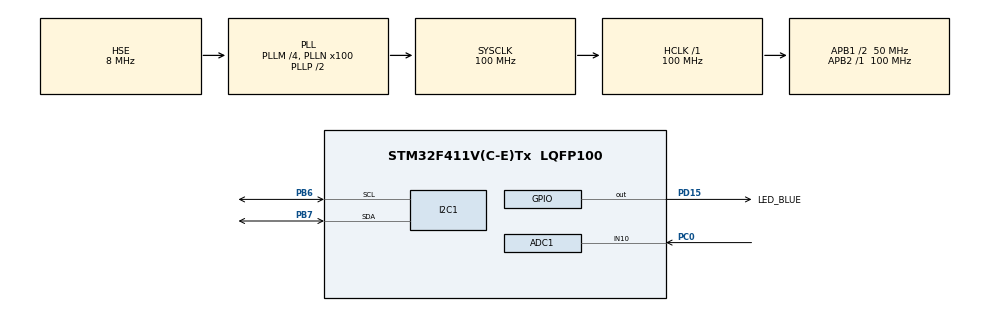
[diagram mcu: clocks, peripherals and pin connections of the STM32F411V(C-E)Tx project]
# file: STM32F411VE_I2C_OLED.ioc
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Mcu.Family=STM32F4
RCC.PLLSourceVirtual=RCC_PLLSOURCE_HSE
Dma.ADC1.0.Instance=DMA2_Stream0
RCC.CortexFreq_Value=100000000
PD15.GPIO_Label=LED_BLUE
ADC1.Rank-0\#ChannelRegularConversion=1
VP_ADC1_TempSens_Input.Mode=IN-TempSens
ADC1.ContinuousConvMode=ENABLE
PH1\ -\ OSC_OUT.Mode=HSE-External-Oscillator
PC0.Signal=ADCx_IN10
RCC.APB1CLKDivider=RCC_HCLK_DIV2
ADC1.SamplingTime-2\#ChannelRegularConversion=ADC_SAMPLETIME_3CYCLES
RCC.SYSCLKSource=RCC_SYSCLKSOURCE_PLLCLK
ProjectManager.StackSize=0x400
PA13.Signal=SYS_JTMS-SWDIO
Dma.ADC1.0.PeriphDataAlignment=DMA_PDATAALIGN_WORD
PH0\ -\ OSC_IN.Mode=HSE-External-Oscillator
PH0\ -\ OSC_IN.Signal=RCC_OSC_IN
ProjectManager.TargetToolchain=STM32CubeIDE
I2C1.I2C_Mode=I2C_Fast
Dma.ADC1.0.Mode=DMA_CIRCULAR
RCC.HCLKFreq_Value=100000000
Dma.ADC1.0.Priority=DMA_PRIORITY_LOW
RCC.APB2TimFreq_Value=100000000
PB6.Signal=I2C1_SCL
ADC1.Channel-1\#ChannelRegularConversion=ADC_CHANNEL_TEMPSENSOR
Dma.ADC1.0.Direction=DMA_PERIPH_TO_MEMORY
ADC1.Channel-2\#ChannelRegularConversion=ADC_CHANNEL_VREFINT
PB6.Mode=I2C
NVIC.DMA2_Stream0_IRQn=true\:0\:0\:false\:false\:true\:false\:true
RCC.LSE_VALUE=32768
Dma.ADC1.0.MemDataAlignment=DMA_MDATAALIGN_WORD
RCC.AHBFreq_Value=100000000
ADC1.Channel-0\#ChannelRegularConversion=ADC_CHANNEL_10
RCC.HSE_VALUE=8000000
PH1\ -\ OSC_OUT.Signal=RCC_OSC_OUT
PB3.Mode=Trace_Asynchronous_SW
ADC1.ScanConvMode=ENABLE
board=custom
RCC.VCOOutputFreq_Value=200000000
VP_ADC1_Vref_Input.Mode=IN-Vrefint
RCC.APB2Freq_Value=100000000
ADC1.Rank-2\#ChannelRegularConversion=3
PA14.Mode=Trace_Asynchronous_SW
Dma.ADC1.0.PeriphInc=DMA_PINC_DISABLE
PB7.Signal=I2C1_SDA
ADC1.NbrOfConversion=3
PA13.Mode=Trace_Asynchronous_SW
Mcu.Name=STM32F411V(C-E)Tx
ADC1.SamplingTime-0\#ChannelRegularConversion=ADC_SAMPLETIME_3CYCLES
RCC.48MHZClocksFreq_Value=50000000
PB3.Signal=SYS_JTDO-SWO
ADC1.SamplingTime-1\#ChannelRegularConversion=ADC_SAMPLETIME_3CYCLES
RCC.SYSCLKFreq_VALUE=100000000
Mcu.Package=LQFP100
ADC1.master=1
ADC1.Rank-1\#ChannelRegularConversion=2
PB7.Mode=I2C
PA14.Signal=SYS_JTCK-SWCLK
Dma.ADC1.0.MemInc=DMA_MINC_ENABLE
SH.ADCx_IN10.0=ADC1_IN10,IN10
ProjectManager.HeapSize=0x200
RCC.HSI_VALUE=16000000
NVIC.PriorityGroup=NVIC_PRIORITYGROUP_4
ADC1.NbrOfConversionFlag=1
RCC.PLLM=4
RCC.PLLN=100
RCC.APB1TimFreq_Value=100000000
Dma.ADC1.0.FIFOMode=DMA_FIFOMODE_DISABLE
Dma.Request0=ADC1
RCC.APB1Freq_Value=50000000
ADC1.ClockPrescaler=ADC_CLOCK_SYNC_PCLK_DIV8
PD15.Signal=GPIO_Output

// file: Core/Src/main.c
/* USER CODE BEGIN Header */
/**
  ******************************************************************************
  * @file           : main.c
  * @brief          : Main program body
  ******************************************************************************
  * @attention
  *
  * <h2><center>&copy; Copyright (c) 2021 STMicroelectronics.
  * All rights reserved.</center></h2>
  *
  * This software component is licensed by ST under BSD 3-Clause license,
  * the "License"; You may not use this file except in compliance with the
  * License. You may obtain a copy of the License at:
  *                        opensource.org/licenses/BSD-3-Clause
  *
  ******************************************************************************
  */
/* USER CODE END Header */
#include "main.h"

/* USER CODE BEGIN Includes */
#include "fonts.h"
#include "ssd1306.h"
#include "test.h"
#include "bitmap.h"
#include "horse_anim.h"
#include <stdio.h>
/* USER CODE END Includes */

ADC_HandleTypeDef hadc1;
DMA_HandleTypeDef hdma_adc1;

I2C_HandleTypeDef hi2c1;

/* USER CODE BEGIN PV */
uint32_t ADC_VAL[3];
char printBuffer[64];
/* USER CODE END PV */

void SystemClock_Config(void);
static void MX_GPIO_Init(void);
static void MX_DMA_Init(void);
static void MX_I2C1_Init(void);
static void MX_ADC1_Init(void);

/* USER CODE BEGIN 0 */
int _write(int file, char *ptr, int len)
{
  /* Implement your write code here, this is used by puts and printf for example */
  int i=0;
  for(i=0 ; i<len ; i++)
    ITM_SendChar((*ptr++));
  return len;
}
/* USER CODE END 0 */

int main(void)
{

  /* MCU Configuration--------------------------------------------------------*/

  /* Reset of all peripherals, Initializes the Flash interface and the Systick. */
  HAL_Init();

  /* Configure the system clock */
  SystemClock_Config();

  /* Initialize all configured peripherals */
  MX_GPIO_Init();
  MX_DMA_Init();
  MX_I2C1_Init();
  MX_ADC1_Init();
  /* USER CODE BEGIN 2 */

  SSD1306_Init();  // initialise

  /// lets print some string

    SSD1306_GotoXY (0,0);
    SSD1306_Puts ("HELLO", &Font_11x18, 1);
    SSD1306_GotoXY (10, 30);
    SSD1306_Puts ("  WORLD :)", &Font_11x18, 1);
    SSD1306_UpdateScreen(); //display

    HAL_Delay (2000);

    SSD1306_ScrollRight(0,7);  // scroll entire screen
    HAL_Delay(2000);  // 2 sec

    SSD1306_ScrollLeft(0,7);  // scroll entire screen
    HAL_Delay(2000);  // 2 sec

    SSD1306_Stopscroll();
    SSD1306_Clear();

    SSD1306_DrawBitmap(0,0,logo, 128, 64, 1);
    SSD1306_UpdateScreen();

    HAL_Delay(2000);

    SSD1306_ScrollRight(0x00, 0x0f);    // scroll entire screen right

    HAL_Delay (2000);

    SSD1306_ScrollLeft(0x00, 0x0f);  // scroll entire screen left

    HAL_Delay (2000);

    SSD1306_Scrolldiagright(0x00, 0x0f);  // scroll entire screen diagonal right

    HAL_Delay (2000);

    SSD1306_Scrolldiagleft(0x00, 0x0f);  // scroll entire screen diagonal left

    HAL_Delay (2000);

    SSD1306_Stopscroll();   // stop scrolling. If not done, screen will keep on scrolling

    SSD1306_InvertDisplay(1);   // invert the display

    HAL_Delay(2000);

    SSD1306_InvertDisplay(0);  // normalize the display
//

    HAL_Delay(2000);

    /// TESTSSSSSSSSS

//    TestLines(1);
//    HAL_Delay (1000);
//    TestRectangles(1);
//    HAL_Delay (1000);
//    TestFilledRectangles(1);
//    HAL_Delay (1000);
//    TestCircles(6,1);
//    HAL_Delay (1000);
//    TestFilledCircles(6, 1);
//    TestTriangles(1);

    //Custom write funtion for printing in SWO printf Trace

    HAL_ADC_Start_DMA(&hadc1, ADC_VAL, 3);

  /* USER CODE END 2 */

  /* Infinite loop */
  while (1)
  {

    /* USER CODE BEGIN 3 */

	  //// HORSE ANIMATION START //////

	  SSD1306_Clear();
	  SSD1306_DrawBitmap(0,0,horse1,128,64,1);
	  SSD1306_UpdateScreen();

	  SSD1306_Clear();
	  SSD1306_DrawBitmap(0,0,horse2,128,64,1);
	  SSD1306_UpdateScreen();

	  SSD1306_Clear();
	  SSD1306_DrawBitmap(0,0,horse3,128,64,1);
	  SSD1306_UpdateScreen();

	  SSD1306_Clear();
	  SSD1306_DrawBitmap(0,0,horse4,128,64,1);
	  SSD1306_UpdateScreen();

	  SSD1306_Clear();
	  SSD1306_DrawBitmap(0,0,horse5,128,64,1);
	  SSD1306_UpdateScreen();

	  SSD1306_Clear();
	  SSD1306_DrawBitmap(0,0,horse6,128,64,1);
	  SSD1306_UpdateScreen();

	  SSD1306_Clear();
	  SSD1306_DrawBitmap(0,0,horse7,128,64,1);
	  SSD1306_UpdateScreen();

	  SSD1306_Clear();
	  SSD1306_DrawBitmap(0,0,horse8,128,64,1);
	  SSD1306_UpdateScreen();

	  SSD1306_Clear();
	  SSD1306_DrawBitmap(0,0,horse9,128,64,1);
	  SSD1306_UpdateScreen();

	  SSD1306_Clear();
	  SSD1306_DrawBitmap(0,0,horse10,128,64,1);
	  SSD1306_UpdateScreen();

	  sprintf(printBuffer,"ADC Values : IN: %4d, Temp: %4d , Vref: %4d \n\r",ADC_VAL[0],ADC_VAL[1],ADC_VAL[2]);
	  printf(printBuffer);

	  //// HORSE ANIMATION ENDS //////
  }
  /* USER CODE END 3 */
}

void SystemClock_Config(void)
{
  RCC_OscInitTypeDef RCC_OscInitStruct = {0};
  RCC_ClkInitTypeDef RCC_ClkInitStruct = {0};

  /** Configure the main internal regulator output voltage
  */
  __HAL_RCC_PWR_CLK_ENABLE();
  __HAL_PWR_VOLTAGESCALING_CONFIG(PWR_REGULATOR_VOLTAGE_SCALE1);
  /** Initializes the RCC Oscillators according to the specified parameters
  * in the RCC_OscInitTypeDef structure.
  */
  RCC_OscInitStruct.OscillatorType = RCC_OSCILLATORTYPE_HSE;
  RCC_OscInitStruct.HSEState = RCC_HSE_ON;
  RCC_OscInitStruct.PLL.PLLState = RCC_PLL_ON;
  RCC_OscInitStruct.PLL.PLLSource = RCC_PLLSOURCE_HSE;
  RCC_OscInitStruct.PLL.PLLM = 4;
  RCC_OscInitStruct.PLL.PLLN = 100;
  RCC_OscInitStruct.PLL.PLLP = RCC_PLLP_DIV2;
  RCC_OscInitStruct.PLL.PLLQ = 4;
  if (HAL_RCC_OscConfig(&RCC_OscInitStruct) != HAL_OK)
  {
    Error_Handler();
  }
  /** Initializes the CPU, AHB and APB buses clocks
  */
  RCC_ClkInitStruct.ClockType = RCC_CLOCKTYPE_HCLK|RCC_CLOCKTYPE_SYSCLK
                              |RCC_CLOCKTYPE_PCLK1|RCC_CLOCKTYPE_PCLK2;
  RCC_ClkInitStruct.SYSCLKSource = RCC_SYSCLKSOURCE_PLLCLK;
  RCC_ClkInitStruct.AHBCLKDivider = RCC_SYSCLK_DIV1;
  RCC_ClkInitStruct.APB1CLKDivider = RCC_HCLK_DIV2;
  RCC_ClkInitStruct.APB2CLKDivider = RCC_HCLK_DIV1;

  if (HAL_RCC_ClockConfig(&RCC_ClkInitStruct, FLASH_LATENCY_3) != HAL_OK)
  {
    Error_Handler();
  }
}

static void MX_ADC1_Init(void)
{

  ADC_ChannelConfTypeDef sConfig = {0};

  /** Configure the global features of the ADC (Clock, Resolution, Data Alignment and number of conversion)
  */
  hadc1.Instance = ADC1;
  hadc1.Init.ClockPrescaler = ADC_CLOCK_SYNC_PCLK_DIV8;
  hadc1.Init.Resolution = ADC_RESOLUTION_12B;
  hadc1.Init.ScanConvMode = ENABLE;
  hadc1.Init.ContinuousConvMode = ENABLE;
  hadc1.Init.DiscontinuousConvMode = DISABLE;
  hadc1.Init.ExternalTrigConvEdge = ADC_EXTERNALTRIGCONVEDGE_NONE;
  hadc1.Init.ExternalTrigConv = ADC_SOFTWARE_START;
  hadc1.Init.DataAlign = ADC_DATAALIGN_RIGHT;
  hadc1.Init.NbrOfConversion = 3;
  hadc1.Init.DMAContinuousRequests = DISABLE;
  hadc1.Init.EOCSelection = ADC_EOC_SINGLE_CONV;
  if (HAL_ADC_Init(&hadc1) != HAL_OK)
  {
    Error_Handler();
  }
  /** Configure for the selected ADC regular channel its corresponding rank in the sequencer and its sample time.
  */
  sConfig.Channel = ADC_CHANNEL_10;
  sConfig.Rank = 1;
  sConfig.SamplingTime = ADC_SAMPLETIME_3CYCLES;
  if (HAL_ADC_ConfigChannel(&hadc1, &sConfig) != HAL_OK)
  {
    Error_Handler();
  }
  /** Configure for the selected ADC regular channel its corresponding rank in the sequencer and its sample time.
  */
  sConfig.Channel = ADC_CHANNEL_TEMPSENSOR;
  sConfig.Rank = 2;
  if (HAL_ADC_ConfigChannel(&hadc1, &sConfig) != HAL_OK)
  {
    Error_Handler();
  }
  /** Configure for the selected ADC regular channel its corresponding rank in the sequencer and its sample time.
  */
  sConfig.Channel = ADC_CHANNEL_VREFINT;
  sConfig.Rank = 3;
  if (HAL_ADC_ConfigChannel(&hadc1, &sConfig) != HAL_OK)
  {
    Error_Handler();
  }

}

static void MX_I2C1_Init(void)
{

  hi2c1.Instance = I2C1;
  hi2c1.Init.ClockSpeed = 400000;
  hi2c1.Init.DutyCycle = I2C_DUTYCYCLE_2;
  hi2c1.Init.OwnAddress1 = 0;
  hi2c1.Init.AddressingMode = I2C_ADDRESSINGMODE_7BIT;
  hi2c1.Init.DualAddressMode = I2C_DUALADDRESS_DISABLE;
  hi2c1.Init.OwnAddress2 = 0;
  hi2c1.Init.GeneralCallMode = I2C_GENERALCALL_DISABLE;
  hi2c1.Init.NoStretchMode = I2C_NOSTRETCH_DISABLE;
  if (HAL_I2C_Init(&hi2c1) != HAL_OK)
  {
    Error_Handler();
  }

}

static void MX_DMA_Init(void)
{

  /* DMA controller clock enable */
  __HAL_RCC_DMA2_CLK_ENABLE();

  /* DMA interrupt init */
  /* DMA2_Stream0_IRQn interrupt configuration */
  HAL_NVIC_SetPriority(DMA2_Stream0_IRQn, 0, 0);
  HAL_NVIC_EnableIRQ(DMA2_Stream0_IRQn);

}

static void MX_GPIO_Init(void)
{
  GPIO_InitTypeDef GPIO_InitStruct = {0};

  /* GPIO Ports Clock Enable */
  __HAL_RCC_GPIOH_CLK_ENABLE();
  __HAL_RCC_GPIOC_CLK_ENABLE();
  __HAL_RCC_GPIOD_CLK_ENABLE();
  __HAL_RCC_GPIOA_CLK_ENABLE();
  __HAL_RCC_GPIOB_CLK_ENABLE();

  /*Configure GPIO pin Output Level */
  HAL_GPIO_WritePin(LED_BLUE_GPIO_Port, LED_BLUE_Pin, GPIO_PIN_RESET);

  /*Configure GPIO pin : LED_BLUE_Pin */
  GPIO_InitStruct.Pin = LED_BLUE_Pin;
  GPIO_InitStruct.Mode = GPIO_MODE_OUTPUT_PP;
  GPIO_InitStruct.Pull = GPIO_NOPULL;
  GPIO_InitStruct.Speed = GPIO_SPEED_FREQ_LOW;
  HAL_GPIO_Init(LED_BLUE_GPIO_Port, &GPIO_InitStruct);

}

void Error_Handler(void)
{
  __disable_irq();
  while (1)
  {
  }
}

/************************ (C) COPYRIGHT STMicroelectronics *****END OF FILE****/
